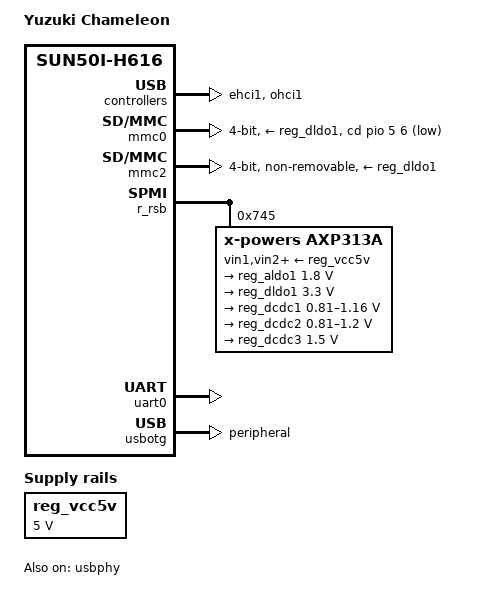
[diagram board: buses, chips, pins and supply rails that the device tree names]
// SPDX-License-Identifier: (GPL-2.0+ or MIT)
/*
 * Copyright (C) 2020 Arm Ltd.
 */

/dts-v1/;

#include "sun50i-h616.dtsi"

#include <dt-bindings/gpio/gpio.h>
#include <dt-bindings/interrupt-controller/arm-gic.h>
#include <dt-bindings/leds/common.h>

/ {
	model = "Yuzuki Chameleon";
	compatible = "yuzuki,chameleon", "allwinner,sun50i-h616";

	aliases {
		ethernet0 = &emac0;
		serial0 = &uart0;
	};

	chosen {
		stdout-path = "serial0:115200n8";
	};

	reg_vcc5v: vcc5v {
		/* board wide 5V supply directly from the USB-C socket */
		compatible = "regulator-fixed";
		regulator-name = "vcc-5v";
		regulator-min-microvolt = <5000000>;
		regulator-max-microvolt = <5000000>;
		regulator-always-on;
	};
};

&ehci1 {
	status = "okay";
};

&mmc0 {
	vmmc-supply = <&reg_dldo1>;
	cd-gpios = <&pio 5 6 GPIO_ACTIVE_LOW>;	/* PF6 */
	bus-width = <4>;
	status = "okay";
};

&mmc2 {
	vmmc-supply = <&reg_dldo1>;
	vqmmc-supply = <&reg_dldo1>;
	bus-width = <4>;
	non-removable;
	cap-mmc-hw-reset;
	status = "okay";
};

&ohci1 {
	status = "okay";
};

&r_rsb {
	status = "okay";

	axp313a: pmic@745 {
		compatible = "x-powers,axp313a";

		interrupt-controller;
		#interrupt-cells = <1>;
		reg = <0x745>;

		x-powers,self-working-mode;
		vin1-supply = <&reg_vcc5v>;
		vin2-supply = <&reg_vcc5v>;
		vin3-supply = <&reg_vcc5v>;

		regulators {
			reg_aldo1: aldo1 {
				regulator-always-on;
				regulator-min-microvolt = <1800000>;
				regulator-max-microvolt = <1800000>;
				regulator-name = "vcc-1v8";
			};

			reg_dldo1: dldo1 {
				regulator-always-on;
				regulator-min-microvolt = <3300000>;
				regulator-max-microvolt = <3300000>;
				regulator-name = "vcc-3v3";
			};

			reg_dcdc1: dcdc1 {
				regulator-always-on;
				regulator-min-microvolt = <810000>;
				regulator-max-microvolt = <1160000>;
				regulator-name = "vdd-gpu-sys";
			};

			reg_dcdc2: dcdc2 {
				regulator-always-on;
				regulator-min-microvolt = <810000>;
				regulator-max-microvolt = <1200000>;
				regulator-name = "vdd-cpu";
			};

			reg_dcdc3: dcdc3 {
				regulator-always-on;
				regulator-min-microvolt = <1500000>;
				regulator-max-microvolt = <1500000>;
				regulator-name = "vdd-dram";
			};
		};
	};
};

&pio {
	vcc-pc-supply = <&reg_dldo1>;
	vcc-pg-supply = <&reg_dldo1>;
	vcc-pi-supply = <&reg_dldo1>;
};

&uart0 {
	pinctrl-names = "default";
	pinctrl-0 = <&uart0_ph_pins>;
	status = "okay";
};

&usbotg {
	/*
	 * PHY0 pins are connected to a USB-C socket, but a role switch
	 * is not implemented: both CC pins are pulled to GND.
	 * The VBUS pins power the device, so a fixed peripheral mode
	 * is the best choice.
	 * The board can be powered via GPIOs, in this case port0 *can*
	 * act as a host (with a cable/adapter ignoring CC), as VBUS is
	 * then provided by the GPIOs. Any user of this setup would
	 * need to adjust the DT accordingly: dr_mode set to "host",
	 * enabling OHCI0 and EHCI0.
	 */
	dr_mode = "peripheral";
	status = "okay";
};

&usbphy {
	usb1_vbus-supply = <&reg_vcc5v>;
	status = "okay";
};
